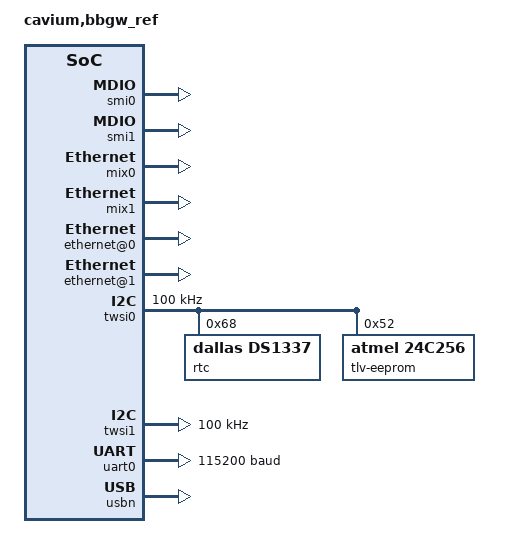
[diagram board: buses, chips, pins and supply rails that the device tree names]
/dts-v1/;
/*
 * Cavium Inc. BBGW Reference board
 */
/ {
	model = "cavium,bbgw_ref";
	compatible = "cavium,bbgw_ref";
	#address-cells = <2>;
	#size-cells = <2>;
	interrupt-parent = <&ciu>;

	soc@0 {
		compatible = "simple-bus";
		#address-cells = <2>;
		#size-cells = <2>;
		ranges; /* Direct mapping */

		ciu: interrupt-controller@1070000000000 {
			compatible = "cavium,octeon-3860-ciu";
			interrupt-controller;
			/* Interrupts are specified by two parts:
			 * 1) Controller register (0 or 1)
			 * 2) Bit within the register (0..63)
			 */
			#interrupt-cells = <2>;
			reg = <0x10700 0x00000000 0x0 0x7000>;
		};

		gpio: gpio-controller@1070000000800 {
			#gpio-cells = <2>;
			compatible = "cavium,octeon-3860-gpio";
			reg = <0x10700 0x00000800 0x0 0x100>;
			gpio-controller;
			/* Interrupts are specified by two parts:
			 * 1) GPIO pin number (0..15)
			 * 2) Triggering (1 - edge rising
			 *		  2 - edge falling
			 *		  4 - level active high
			 *		  8 - level active low)
			 */
			interrupt-controller;
			#interrupt-cells = <2>;
			/* The GPIO pins connect to 16 consecutive CUI bits */
			interrupts = <0 16>; /* <0 17> <0 18> <0 19>
				     <0 20> <0 21> <0 22> <0 23>
				     <0 24> <0 25> <0 26> <0 27>
				     <0 28> <0 29> <0 30> <0 31>; */
		};

		smi0: mdio@1180000001800 {
			compatible = "cavium,octeon-3860-mdio";
			#address-cells = <1>;
			#size-cells = <0>;
			reg = <0x11800 0x00001800 0x0 0x40>;
		};

		smi1: mdio@1180000001900 {
			compatible = "cavium,octeon-3860-mdio";
			#address-cells = <1>;
			#size-cells = <0>;
			reg = <0x11800 0x00001900 0x0 0x40>;
		};

		mix0: ethernet@1070000100000 {
			compatible = "cavium,octeon-5750-mix";
			reg = <0x10700 0x00100000 0x0 0x100>, /* MIX */
			      <0x11800 0xE0000000 0x0 0x300>, /* AGL */
			      <0x11800 0xE0000400 0x0 0x400>, /* AGL_SHARED  */
			      <0x11800 0xE0002000 0x0 0x8>;   /* AGL_PRT_CTL */
			cell-index = <0>;
			interrupts = <0 62>, <1 46>;
			local-mac-address = [ 00 00 00 00 00 00 ];
		};

		mix1: ethernet@1070000100800 {
			compatible = "cavium,octeon-5750-mix";
			reg = <0x10700 0x00100800 0x0 0x100>, /* MIX */
			      <0x11800 0xE0000800 0x0 0x300>, /* AGL */
			      <0x11800 0xE0000400 0x0 0x400>, /* AGL_SHARED  */
			      <0x11800 0xE0002008 0x0 0x8>;   /* AGL_PRT_CTL */
			cell-index = <1>;
			interrupts = <1 18>, <1 46>;
			local-mac-address = [ 00 00 00 00 00 00 ];
		};

		pip: pip@11800a0000000 {
			compatible = "cavium,octeon-3860-pip";
			#address-cells = <1>;
			#size-cells = <0>;
			reg = <0x11800 0xa0000000 0x0 0x2000>;

			interface@0 {
				compatible = "cavium,octeon-3860-pip-interface";
				#address-cells = <1>;
				#size-cells = <0>;
				reg = <0>; /* interface */

				ethernet@0 {
					compatible = "cavium,octeon-3860-pip-port";
					reg = <0x0>; /* Port */
					local-mac-address = [ 00 00 00 00 00 00 ];
				};
				ethernet@1 {
					compatible = "cavium,octeon-3860-pip-port";
					reg = <0x1>; /* Port */
					local-mac-address = [ 00 00 00 00 00 00 ];
				};
			};
		};

		twsi0: i2c@1180000001000 {
			#address-cells = <1>;
			#size-cells = <0>;
			compatible = "cavium,octeon-3860-twsi";
			reg = <0x11800 0x00001000 0x0 0x200>;
			interrupts = <0 45>;
			clock-frequency = <100000>;

			rtc@68 {
				compatible = "dallas,ds1337";
				reg = <0x68>;
			};
			tlv-eeprom@52 {
				compatible = "atmel,24c256","microchip,24lc256";
				reg = <0x52>;
				pagesize = <64>;
			};
		};

		twsi1: i2c@1180000001200 {
			#address-cells = <1>;
			#size-cells = <0>;
			compatible = "cavium,octeon-3860-twsi";
			reg = <0x11800 0x00001200 0x0 0x200>;
			interrupts = <0 59>;
			clock-frequency = <100000>;
		};

		uart0: serial@1180000000800 {
			compatible = "cavium,octeon-3860-uart","ns16550";
			reg = <0x11800 0x00000800 0x0 0x400>;
			clock-frequency = <0>;
			current-speed = <115200>;
			reg-shift = <3>;
			interrupts = <0 34>;
		};

		bootbus: bootbus@1180000000000 {
			compatible = "cavium,octeon-3860-bootbus";
			reg = <0x11800 0x00000000 0x0 0x200>;
			/* The chip select number and offset */
			#address-cells = <2>;
			/* The size of the chip select region */
			#size-cells = <1>;
			ranges = <0 0  0       0x1dc00000  0x2400000>,
				 <1 0  0x10000 0x30000000  0>,
				 <2 0  0x10000 0x40000000  0>,
				 <3 0  0x10000 0x50000000  0>,
				 <4 0  0x10000 0x60000000  0>,
				 <5 0  0x10000 0x70000000  0>,
				 <6 0  0x10000 0x80000000  0>,
				 <7 0  0x10000 0x90000000  0>;

			cavium,cs-config@0 {
				compatible = "cavium,octeon-3860-bootbus-config";
				cavium,cs-index = <0>;
				cavium,t-adr  = <10>;
				cavium,t-ce   = <50>;
				cavium,t-oe   = <50>;
				cavium,t-we   = <35>;
				cavium,t-rd-hld = <45>;
				cavium,t-wr-hld = <35>;
				cavium,t-pause  = <0>;
				cavium,t-wait   = <300>;
				cavium,t-page   = <25>;
				cavium,t-rd-dly = <0>;

				cavium,pages     = <0>;
				cavium,bus-width = <8>;
			};

			flash0: nor@0,0 {
				compatible = "cfi-flash";
				reg = <0 0 0x2000000>;
				#address-cells = <1>;
				#size-cells = <1>;

				partition@0 {
					label = "bootloader";
					reg = <0x0 0x200000>;
					read-only;
				};

				partition@200000 {
					label = "kernel";
					reg = <0x200000 0x400000>;
				};

				partition@0x600000 {
					label = "jffs2";
					reg = <0x600000 0x19e0000>;
				};

				partition@1fe0000 {
					label = "environment";
					reg = <0x1fe0000 0x20000>;
					read-only;
				};
			};
		};
		usbn: usbn@1180068000000 {
			compatible = "cavium,octeon-5750-usbn";
			#address-cells = <2>;
			#size-cells = <2>;
			reg = <0x11800 0x68000000 0x0 0x1000>;
			ranges; /* Direct mapping */
			/* 12MHz, 24MHz and 48MHz allowed */
			refclk-frequency = <12000000>;
			/* Either "crystal" or "external" */
			refclk-type = "crystal";

			usbc@16f0010000000 {
				compatible = "cavium,octeon-5750-usbc";
				reg = <0x16f00 0x10000000 0x0 0x50000>;
			};
		};
	};

	aliases {
		mix0 = &mix0;
		mix1 = &mix1;
		pip = &pip;
		smi0 = &smi0;
		smi1 = &smi1;
		twsi0 = &twsi0;
		twsi1 = &twsi1;
		uart0 = &uart0;
		flash0 = &flash0;
	};
 };
